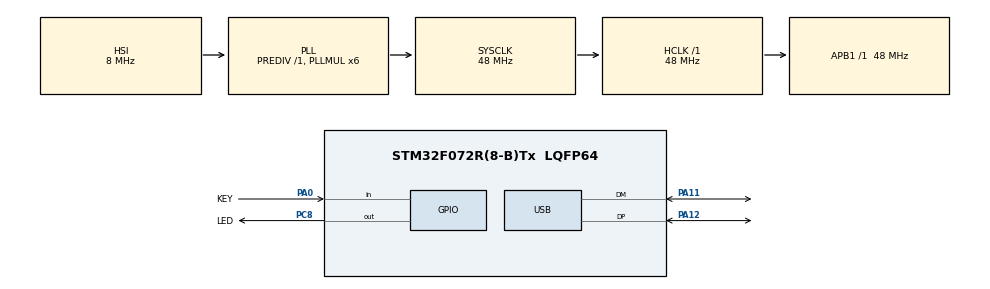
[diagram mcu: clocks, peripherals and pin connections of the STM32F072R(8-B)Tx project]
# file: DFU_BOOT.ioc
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Mcu.Family=STM32F0
Mcu.Name=STM32F072R(8-B)Tx
Mcu.Package=LQFP64
NVIC.USB_IRQn=true\:0\:0\:false\:false\:true\:false\:true
PA0.GPIO_Label=KEY
PA0.GPIO_PuPd=GPIO_PULLDOWN
PA0.Signal=GPIO_Input
PA11.Mode=Device
PA11.Signal=USB_DM
PA12.Mode=Device
PA12.Signal=USB_DP
PA13.Mode=Serial_Wire
PA13.Signal=SYS_SWDIO
PA14.Mode=Serial_Wire
PA14.Signal=SYS_SWCLK
PC8.GPIO_Label=LED
PC8.Signal=GPIO_Output
ProjectManager.HeapSize=0x500
ProjectManager.StackSize=0x2000
ProjectManager.TargetToolchain=MDK-ARM V5
RCC.AHBFreq_Value=48000000
RCC.APB1Freq_Value=48000000
RCC.APB1TimFreq_Value=48000000
RCC.HCLKFreq_Value=48000000
RCC.PLLMUL=RCC_PLL_MUL6
RCC.SYSCLKFreq_VALUE=48000000
RCC.SYSCLKSource=RCC_SYSCLKSOURCE_PLLCLK
USB_DEVICE.CLASS_NAME_FS=DFU
USB_DEVICE.USBD_DFU_APP_DEFAULT_ADD=0x08007000
USB_DEVICE.VirtualMode=Dfu
USB_DEVICE.VirtualModeFS=Dfu_FS
VP_USB_DEVICE_VS_USB_DEVICE_DFU_FS.Mode=DFU_FS
board=custom

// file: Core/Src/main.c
/* USER CODE BEGIN Header */
/**
  ******************************************************************************
  * @file           : main.c
  * @brief          : Main program body
  ******************************************************************************
  * @attention
  *
  * <h2><center>&copy; Copyright (c) 2020 STMicroelectronics.
  * All rights reserved.</center></h2>
  *
  * This software component is licensed by ST under BSD 3-Clause license,
  * the "License"; You may not use this file except in compliance with the
  * License. You may obtain a copy of the License at:
  *                        opensource.org/licenses/BSD-3-Clause
  *
  ******************************************************************************
  */
/* USER CODE END Header */

#include "main.h"
#include "usb_device.h"
#include "gpio.h"

void SystemClock_Config(void);
/* USER CODE BEGIN PFP */
typedef void (*pFunction)(void);            /*!< Function pointer definition */
void Bootloader_JumpToApplication(void);
/* USER CODE END PFP */

int main(void)
{

  /* MCU Configuration--------------------------------------------------------*/

  /* Reset of all peripherals, Initializes the Flash interface and the Systick. */
  HAL_Init();

  /* Configure the system clock */
  SystemClock_Config();

  /* Initialize all configured peripherals */
  MX_GPIO_Init();
	//MX_USB_DEVICE_Init();
  /* USER CODE BEGIN 2 */
	if(HAL_GPIO_ReadPin(GPIOA,GPIO_PIN_0)!= GPIO_PIN_SET)
	{
			Bootloader_JumpToApplication();
	}
	MX_USB_DEVICE_Init();
  /* USER CODE END 2 */

  /* Infinite loop */
  while (1)
  {

    /* USER CODE BEGIN 3 */
		HAL_GPIO_WritePin(LED_GPIO_Port, LED_Pin, GPIO_PIN_SET);
		HAL_Delay(200);
		HAL_GPIO_WritePin(LED_GPIO_Port, LED_Pin, GPIO_PIN_RESET);
		HAL_Delay(200);

  }
  /* USER CODE END 3 */
}

void SystemClock_Config(void)
{
  RCC_OscInitTypeDef RCC_OscInitStruct = {0};
  RCC_ClkInitTypeDef RCC_ClkInitStruct = {0};
  RCC_PeriphCLKInitTypeDef PeriphClkInit = {0};

  /** Initializes the CPU, AHB and APB busses clocks
  */
  RCC_OscInitStruct.OscillatorType = RCC_OSCILLATORTYPE_HSI|RCC_OSCILLATORTYPE_HSI48;
  RCC_OscInitStruct.HSIState = RCC_HSI_ON;
  RCC_OscInitStruct.HSI48State = RCC_HSI48_ON;
  RCC_OscInitStruct.HSICalibrationValue = RCC_HSICALIBRATION_DEFAULT;
  RCC_OscInitStruct.PLL.PLLState = RCC_PLL_ON;
  RCC_OscInitStruct.PLL.PLLSource = RCC_PLLSOURCE_HSI;
  RCC_OscInitStruct.PLL.PLLMUL = RCC_PLL_MUL6;
  RCC_OscInitStruct.PLL.PREDIV = RCC_PREDIV_DIV1;
  if (HAL_RCC_OscConfig(&RCC_OscInitStruct) != HAL_OK)
  {
    Error_Handler();
  }
  /** Initializes the CPU, AHB and APB busses clocks
  */
  RCC_ClkInitStruct.ClockType = RCC_CLOCKTYPE_HCLK|RCC_CLOCKTYPE_SYSCLK
                              |RCC_CLOCKTYPE_PCLK1;
  RCC_ClkInitStruct.SYSCLKSource = RCC_SYSCLKSOURCE_PLLCLK;
  RCC_ClkInitStruct.AHBCLKDivider = RCC_SYSCLK_DIV1;
  RCC_ClkInitStruct.APB1CLKDivider = RCC_HCLK_DIV1;

  if (HAL_RCC_ClockConfig(&RCC_ClkInitStruct, FLASH_LATENCY_1) != HAL_OK)
  {
    Error_Handler();
  }
  PeriphClkInit.PeriphClockSelection = RCC_PERIPHCLK_USB;
  PeriphClkInit.UsbClockSelection = RCC_USBCLKSOURCE_HSI48;

  if (HAL_RCCEx_PeriphCLKConfig(&PeriphClkInit) != HAL_OK)
  {
    Error_Handler();
  }
}

/* USER CODE BEGIN 4 */
void Bootloader_JumpToApplication(void)
{
    uint32_t  JumpAddress = *(__IO uint32_t*)(USBD_DFU_APP_DEFAULT_ADD + 4);
    pFunction Jump = (pFunction)JumpAddress;

    HAL_RCC_DeInit();
    HAL_DeInit();

    SysTick->CTRL = 0;
    SysTick->LOAD = 0;
    SysTick->VAL  = 0;

#if (SET_VECTOR_TABLE)
    SCB->VTOR = APP_ADDRESS;
#endif

    __set_MSP(*(__IO uint32_t*)USBD_DFU_APP_DEFAULT_ADD);
    Jump();
}
/* USER CODE END 4 */

void Error_Handler(void)
{
}

/************************ (C) COPYRIGHT STMicroelectronics *****END OF FILE****/
